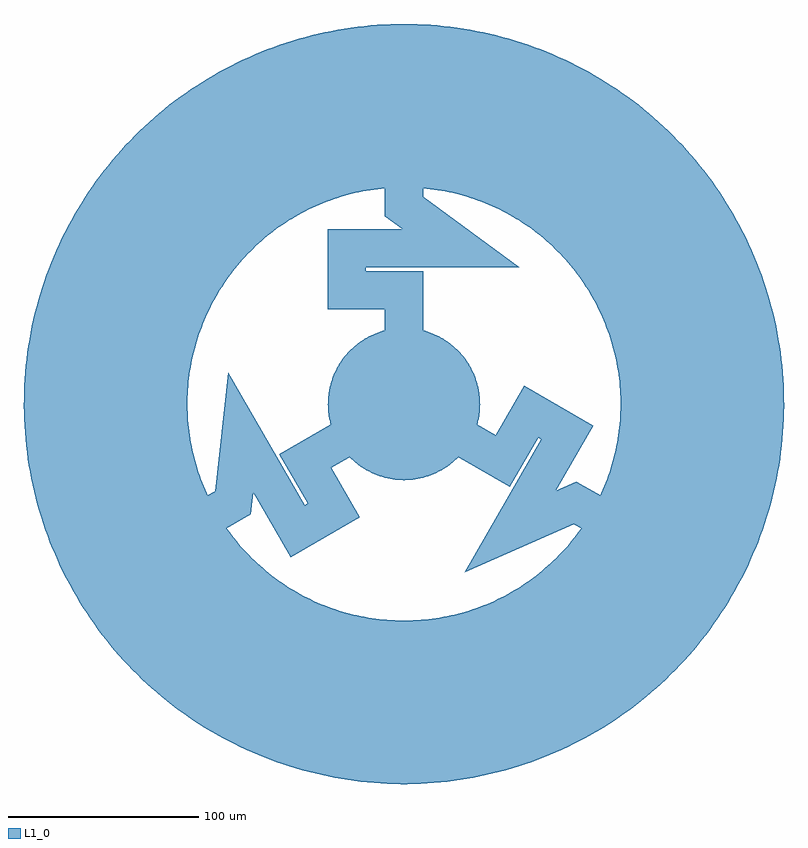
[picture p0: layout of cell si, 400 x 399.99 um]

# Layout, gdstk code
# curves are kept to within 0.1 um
import gdstk
lib = gdstk.Library(unit=1e-6, precision=1e-09)
def P(c, l, *ps):  # polygons
    for p in ps: c.add(gdstk.Polygon(p, *l))
L1_0 = (1, 0)

c_si = lib.new_cell('si')
P(c_si, L1_0, [(-0.35,-39.998),(-3.844,-39.815),(-7.997,-39.193),(-12.061,-38.138),(-15.992,-36.664),(-19.747,-34.786),(-22.712,-32.927),(-26.038,-30.365),(-28.592,-27.973),(-31.367,-24.822),(-33.416,-21.986),(-35.21,-18.981),(-37.005,-15.186),(-38.191,-11.894),(-39.227,-7.825),(-39.831,-3.67),(-39.997,0.525),(-39.798,4.019),(-39.157,8.168),(-38.085,12.227),(-36.594,16.152),(-35.042,19.289),(-32.827,22.855),(-30.704,25.637),(-27.848,28.714),(-24.685,31.475),(-21.25,33.889),(-17.58,35.93),(-14.373,37.329),(-11.055,38.442),(-6.965,39.389),(-3.496,39.847),(0.7,39.994),(4.888,39.7),(9.023,38.969),(13.058,37.809),(16.312,36.523),(20.051,34.612),(22.999,32.727),(25.771,30.592),(28.836,27.722),(31.583,24.547),(33.607,21.693),(35.696,18.05),(37.137,14.862),(38.49,10.887),(39.294,7.481),(39.798,4.019),(40,-0.175),(39.761,-4.367),(39.227,-7.825),(38.191,-11.894),(36.734,-15.831),(35.21,-18.981),(33.026,-22.567),(30.479,-25.905),(28.098,-28.469),(24.959,-31.258),(22.132,-33.319),(18.517,-35.456),(15.348,-36.938),(11.391,-38.344),(7.997,-39.193),(3.844,-39.815)],
  [(-1.75,-199.992),(-8.748,-199.809),(-19.222,-199.074),(-29.644,-197.791),(-39.983,-195.963),(-50.212,-193.594),(-60.303,-190.692),(-70.228,-187.265),(-79.959,-183.321),(-89.47,-178.872),(-98.734,-173.93),(-104.761,-170.368),(-113.558,-164.635),(-122.041,-158.448),(-130.189,-151.825),(-135.422,-147.176),(-142.96,-139.866),(-150.103,-132.17),(-156.833,-124.111),(-163.13,-115.709),(-167.08,-109.929),(-172.619,-101.009),(-177.682,-91.81),(-182.255,-82.359),(-186.327,-72.68),(-188.756,-66.115),(-191.966,-56.117),(-194.646,-45.965),(-196.79,-35.687),(-198.392,-25.31),(-199.447,-14.863),(-199.845,-7.874),(-199.983,2.625),(-199.569,13.117),(-198.988,20.093),(-198.163,27.045),(-197.095,33.963),(-195.786,40.84),(-194.237,47.667),(-192.449,54.435),(-190.426,61.137),(-188.17,67.764),(-185.683,74.308),(-182.969,80.761),(-180.031,87.114),(-176.872,93.362),(-173.496,99.494),(-169.908,105.505),(-164.326,114),(0,114),(-7.974,113.721),(-13.932,113.146),(-21.812,111.894),(-27.654,110.595),(-35.323,108.39),(-40.963,106.386),(-46.489,104.09),(-53.657,100.583),(-58.862,97.628),(-65.547,93.272),(-70.351,89.703),(-76.454,84.563),(-80.786,80.434),(-86.215,74.586),(-91.221,68.372),(-94.683,63.49),(-98.893,56.712),(-101.733,51.444),(-105.082,44.201),(-107.257,38.626),(-109.696,31.028),(-111.173,25.228),(-112.666,17.39),(-113.423,11.453),(-113.947,3.491),(-113.973,-2.494),(-113.685,-8.472),(-112.814,-16.403),(-111.39,-24.255),(-109.963,-30.067),(-108.234,-35.797),(-105.465,-43.28),(-102.179,-50.551),(-99.385,-55.844),(-96.317,-60.983),(-91.816,-67.571),(-88.143,-72.297),(-82.87,-78.285),(-78.647,-82.527),(-72.682,-87.826),(-66.36,-92.695),(-61.404,-96.05),(-54.535,-100.11),(-49.206,-102.834),(-41.892,-106.024),(-36.27,-108.076),(-28.621,-110.349),(-22.79,-111.699),(-16.897,-112.741),(-8.969,-113.647),(-0.998,-113.996),(4.986,-113.891),(12.941,-113.263),(18.867,-112.428),(26.686,-110.833),(32.465,-109.279),(40.03,-106.741),(45.577,-104.493),(50.998,-101.957),(58.005,-98.14),(64.728,-93.842),(69.564,-90.316),(75.711,-85.228),(80.079,-81.137),(84.227,-76.823),(88.143,-72.297),(91.816,-67.571),(96.317,-60.983),(99.385,-55.844),(102.179,-50.551),(104.691,-45.119),(106.915,-39.563),(108.844,-33.897),(110.473,-28.138),(111.797,-22.301),(112.814,-16.403),(113.519,-10.46),(113.912,-4.488),(113.99,1.496),(113.755,7.477),(113.205,13.436),(112.344,19.359),(111.173,25.228),(109.696,31.028),(107.917,36.742),(105.84,42.355),(103.471,47.852),(100.817,53.216),(97.885,58.434),(94.683,63.49),(91.221,68.372),(87.507,73.065),(83.552,77.557),(79.366,81.835),(74.962,85.888),(70.351,89.703),(63.904,94.405),(57.144,98.644),(50.104,102.399),(42.818,105.653),(35.323,108.39),(27.654,110.595),(19.85,112.258),(11.949,113.372),(5.983,113.843),(0,114),(-164.326,114),(-157.913,122.733),(-151.254,130.852),(-144.178,138.61),(-139.239,143.57),(-134.129,148.355),(-126.159,155.19),(-120.65,159.51),(-114.994,163.635),(-106.248,169.445),(-100.253,173.059),(-94.135,176.462),(-84.744,181.159),(-78.352,184.013),(-71.864,186.643),(-65.288,189.043),(-58.632,191.213),(-48.516,194.026),(-41.696,195.605),(-34.825,196.945),(-24.441,198.501),(-13.99,199.51),(-6.999,199.877),(0,200),(10.496,199.724),(17.48,199.235),(27.912,198.043),(38.267,196.305),(48.516,194.026),(58.632,191.213),(68.587,187.872),(75.12,185.357),(84.744,181.159),(94.135,176.462),(100.253,173.059),(109.197,167.559),(117.84,161.597),(126.159,155.19),(134.129,148.355),(141.73,141.112),(148.941,133.479),(153.521,128.185),(160.037,119.951),(166.111,111.387),(171.728,102.515),(176.872,93.362),(181.528,83.95),(184.355,77.546),(188.17,67.764),(191.467,57.795),(194.237,47.667),(196.471,37.407),(198.163,27.045),(198.988,20.093),(199.768,9.622),(199.998,-0.875),(199.677,-11.37),(198.805,-21.834),(197.919,-28.778),(196.136,-39.125),(193.812,-49.365),(191.966,-56.117),(188.756,-66.115),(185.026,-75.93),(180.786,-85.536),(176.048,-94.906),(172.619,-101.009),(167.08,-109.929),(161.08,-118.546),(154.637,-126.836),(147.767,-134.777),(140.49,-142.346),(132.826,-149.523),(124.796,-156.288),(119.25,-160.56),(110.659,-166.597),(101.763,-172.175),(92.587,-177.279),(83.155,-181.893),(73.495,-186.007),(63.631,-189.608),(53.593,-192.686),(43.407,-195.233),(36.547,-196.632),(26.178,-198.279),(15.735,-199.38),(8.748,-199.809)])
c_si.add(gdstk.FlexPath([(0,0),(0,60),(-30,60),(-30,82),(30,82),(30,82),(0,104),(0,114)], 20, ends="flush", simple_path=True, layer=1, datatype=0))  # L1_0
c_si.add(gdstk.FlexPath([(0,0),(-51.962,-30),(-36.962,-55.981),(-56.014,-66.981),(-86.014,-15.019),(-86.014,-15.019),(-90.067,-52),(-98.727,-57)], 20, ends="flush", simple_path=True, layer=1, datatype=0))  # L1_0
c_si.add(gdstk.FlexPath([(0,0),(51.962,-30),(66.962,-4.019),(86.014,-15.019),(56.014,-66.981),(56.014,-66.981),(90.067,-52),(98.727,-57)], 20, ends="flush", simple_path=True, layer=1, datatype=0))  # L1_0

lib.write_gds('si.gds')
